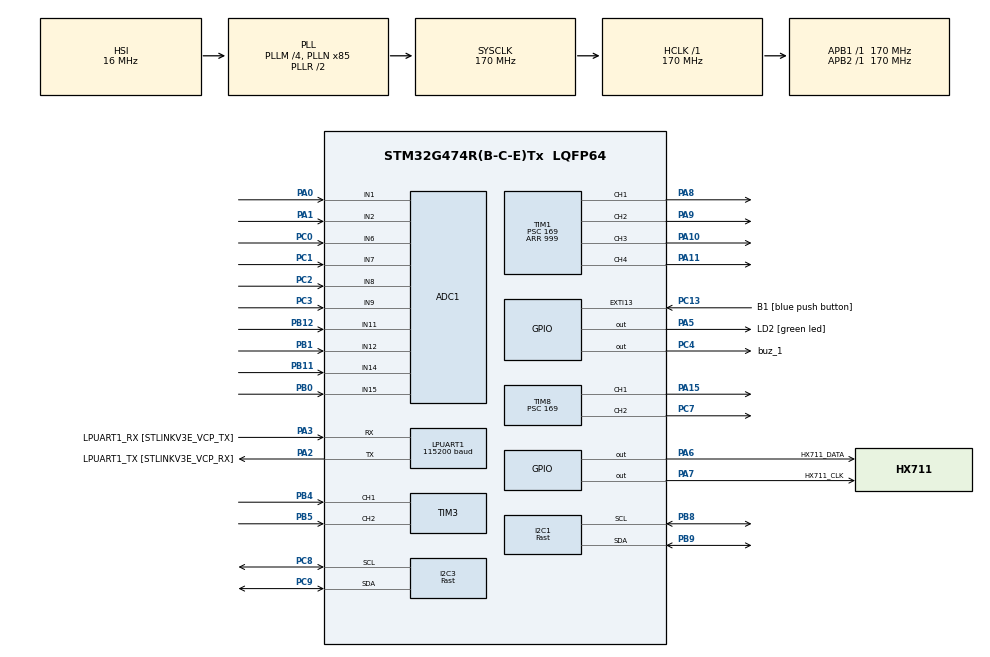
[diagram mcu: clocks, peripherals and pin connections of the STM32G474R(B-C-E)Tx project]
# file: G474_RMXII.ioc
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ADC1.Channel-0\#ChannelRegularConversion=ADC_CHANNEL_1
ADC1.Channel-1\#ChannelRegularConversion=ADC_CHANNEL_2
ADC1.Channel-2\#ChannelRegularConversion=ADC_CHANNEL_6
ADC1.Channel-3\#ChannelRegularConversion=ADC_CHANNEL_15
ADC1.Channel-4\#ChannelRegularConversion=ADC_CHANNEL_9
ADC1.Channel-5\#ChannelRegularConversion=ADC_CHANNEL_7
ADC1.Channel-6\#ChannelRegularConversion=ADC_CHANNEL_14
ADC1.Channel-7\#ChannelRegularConversion=ADC_CHANNEL_8
ADC1.Channel-8\#ChannelRegularConversion=ADC_CHANNEL_12
ADC1.Channel-9\#ChannelRegularConversion=ADC_CHANNEL_11
ADC1.ClockPrescaler=ADC_CLOCK_ASYNC_DIV8
ADC1.ContinuousConvMode=ENABLE
ADC1.DMAContinuousRequests=ENABLE
ADC1.NbrOfConversion=10
ADC1.NbrOfConversionFlag=1
ADC1.OffsetNumber-0\#ChannelRegularConversion=ADC_OFFSET_NONE
ADC1.OffsetNumber-1\#ChannelRegularConversion=ADC_OFFSET_NONE
ADC1.OffsetNumber-2\#ChannelRegularConversion=ADC_OFFSET_NONE
ADC1.OffsetNumber-3\#ChannelRegularConversion=ADC_OFFSET_NONE
ADC1.OffsetNumber-4\#ChannelRegularConversion=ADC_OFFSET_NONE
ADC1.OffsetNumber-5\#ChannelRegularConversion=ADC_OFFSET_NONE
ADC1.OffsetNumber-6\#ChannelRegularConversion=ADC_OFFSET_NONE
ADC1.OffsetNumber-7\#ChannelRegularConversion=ADC_OFFSET_NONE
ADC1.OffsetNumber-8\#ChannelRegularConversion=ADC_OFFSET_NONE
ADC1.OffsetNumber-9\#ChannelRegularConversion=ADC_OFFSET_NONE
ADC1.Rank-0\#ChannelRegularConversion=1
ADC1.Rank-1\#ChannelRegularConversion=2
ADC1.Rank-2\#ChannelRegularConversion=3
ADC1.Rank-3\#ChannelRegularConversion=4
ADC1.Rank-4\#ChannelRegularConversion=5
ADC1.Rank-5\#ChannelRegularConversion=6
ADC1.Rank-6\#ChannelRegularConversion=7
ADC1.Rank-7\#ChannelRegularConversion=8
ADC1.Rank-8\#ChannelRegularConversion=9
ADC1.Rank-9\#ChannelRegularConversion=10
ADC1.SamplingTime-0\#ChannelRegularConversion=ADC_SAMPLETIME_247CYCLES_5
ADC1.SamplingTime-1\#ChannelRegularConversion=ADC_SAMPLETIME_247CYCLES_5
ADC1.SamplingTime-2\#ChannelRegularConversion=ADC_SAMPLETIME_247CYCLES_5
ADC1.SamplingTime-3\#ChannelRegularConversion=ADC_SAMPLETIME_247CYCLES_5
ADC1.SamplingTime-4\#ChannelRegularConversion=ADC_SAMPLETIME_247CYCLES_5
ADC1.SamplingTime-5\#ChannelRegularConversion=ADC_SAMPLETIME_247CYCLES_5
ADC1.SamplingTime-6\#ChannelRegularConversion=ADC_SAMPLETIME_247CYCLES_5
ADC1.SamplingTime-7\#ChannelRegularConversion=ADC_SAMPLETIME_247CYCLES_5
ADC1.SamplingTime-8\#ChannelRegularConversion=ADC_SAMPLETIME_247CYCLES_5
ADC1.SamplingTime-9\#ChannelRegularConversion=ADC_SAMPLETIME_247CYCLES_5
ADC1.master=1
Dma.ADC1.0.Direction=DMA_PERIPH_TO_MEMORY
Dma.ADC1.0.EventEnable=DISABLE
Dma.ADC1.0.Instance=DMA1_Channel1
Dma.ADC1.0.MemDataAlignment=DMA_MDATAALIGN_HALFWORD
Dma.ADC1.0.MemInc=DMA_MINC_ENABLE
Dma.ADC1.0.Mode=DMA_CIRCULAR
Dma.ADC1.0.PeriphDataAlignment=DMA_PDATAALIGN_HALFWORD
Dma.ADC1.0.PeriphInc=DMA_PINC_DISABLE
Dma.ADC1.0.Polarity=HAL_DMAMUX_REQ_GEN_RISING
Dma.ADC1.0.Priority=DMA_PRIORITY_LOW
Dma.ADC1.0.RequestNumber=1
Dma.ADC1.0.SignalID=NONE
Dma.ADC1.0.SyncEnable=DISABLE
Dma.ADC1.0.SyncPolarity=HAL_DMAMUX_SYNC_NO_EVENT
Dma.ADC1.0.SyncRequestNumber=1
Dma.ADC1.0.SyncSignalID=NONE
Dma.Request0=ADC1
I2C1.I2C_Speed_Mode=I2C_Fast
I2C1.Timing=0x10802D9B
I2C3.I2C_Speed_Mode=I2C_Fast
I2C3.Timing=0x10802D9B
LPUART1.BaudRate=115200
LPUART1.WordLength=UART_WORDLENGTH_8B
Mcu.Family=STM32G4
Mcu.Name=STM32G474R(B-C-E)Tx
Mcu.Package=LQFP64
NVIC.DMA1_Channel1_IRQn=true\:0\:0\:false\:false\:true\:false\:true\:true
NVIC.EXTI15_10_IRQn=true\:0\:0\:false\:false\:true\:true\:true\:true
NVIC.PriorityGroup=NVIC_PRIORITYGROUP_4
NVIC.TIM1_TRG_COM_TIM17_IRQn=true\:0\:0\:false\:false\:true\:true\:true\:true
NVIC.TIM1_UP_TIM16_IRQn=true\:0\:0\:false\:false\:true\:true\:true\:true
PA0.Mode=IN1-Single-Ended
PA0.Signal=ADC1_IN1
PA1.Mode=IN2-Single-Ended
PA1.Signal=ADC1_IN2
PA10.Signal=S_TIM1_CH3
PA11.Signal=S_TIM1_CH4
PA13.GPIO_Label=T_SWDIO
PA13.Mode=Serial_Wire
PA13.Signal=SYS_JTMS-SWDIO
PA14.GPIO_Label=T_SWCLK
PA14.Mode=Serial_Wire
PA14.Signal=SYS_JTCK-SWCLK
PA15.Signal=S_TIM8_CH1
PA2.GPIO_Label=LPUART1_TX [STLINKV3E_VCP_RX]
PA2.Mode=Asynchronous
PA2.Signal=LPUART1_TX
PA3.GPIO_Label=LPUART1_RX [STLINKV3E_VCP_TX]
PA3.Mode=Asynchronous
PA3.Signal=LPUART1_RX
PA5.GPIO_Label=LD2 [green led]
PA5.Signal=GPIO_Output
PA6.GPIO_Label=HX711_DATA
PA6.Signal=GPIO_Output
PA7.GPIO_Label=HX711_CLK
PA7.Signal=GPIO_Output
PA8.Signal=S_TIM1_CH1
PA9.Signal=S_TIM1_CH2
PB0.Mode=IN15-Single-Ended
PB0.Signal=ADC1_IN15
PB1.Mode=IN12-Single-Ended
PB1.Signal=ADC1_IN12
PB11.Mode=IN14-Single-Ended
PB11.Signal=ADC1_IN14
PB12.Mode=IN11-Single-Ended
PB12.Signal=ADC1_IN11
PB3.GPIO_Label=T_SWO
PB3.Signal=SYS_JTDO-SWO
PB4.Signal=S_TIM3_CH1
PB5.Signal=S_TIM3_CH2
PB8-BOOT0.Mode=I2C
PB8-BOOT0.Signal=I2C1_SCL
PB9.Mode=I2C
PB9.Signal=I2C1_SDA
PC0.Mode=IN6-Single-Ended
PC0.Signal=ADC1_IN6
PC1.Mode=IN7-Single-Ended
PC1.Signal=ADC1_IN7
PC13.GPIO_Label=B1 [blue push button]
PC13.Signal=GPXTI13
PC14-OSC32_IN.Mode=LSE-External-Oscillator
PC14-OSC32_IN.Signal=RCC_OSC32_IN
PC15-OSC32_OUT.Mode=LSE-External-Oscillator
PC15-OSC32_OUT.Signal=RCC_OSC32_OUT
PC2.Mode=IN8-Single-Ended
PC2.Signal=ADC1_IN8
PC3.Mode=IN9-Single-Ended
PC3.Signal=ADC1_IN9
PC4.GPIO_Label=buz_1
PC4.Signal=GPIO_Output
PC7.Signal=S_TIM8_CH2
PC8.Mode=I2C
PC8.Signal=I2C3_SCL
PC9.Mode=I2C
PC9.Signal=I2C3_SDA
PF0-OSC_IN.Mode=HSE-External-Oscillator
PF0-OSC_IN.Signal=RCC_OSC_IN
PF1-OSC_OUT.Mode=HSE-External-Oscillator
PF1-OSC_OUT.Signal=RCC_OSC_OUT
ProjectManager.HeapSize=0x200
ProjectManager.StackSize=0x400
ProjectManager.TargetToolchain=STM32CubeIDE
RCC.ADC12Freq_Value=170000000
RCC.ADC345Freq_Value=170000000
RCC.AHBFreq_Value=170000000
RCC.APB1Freq_Value=170000000
RCC.APB1TimFreq_Value=170000000
RCC.APB2Freq_Value=170000000
RCC.APB2TimFreq_Value=170000000
RCC.CortexFreq_Value=170000000
RCC.EXTERNAL_CLOCK_VALUE=12288000
RCC.HCLKFreq_Value=170000000
RCC.HSE_VALUE=24000000
RCC.HSI48_VALUE=48000000
RCC.HSI_VALUE=16000000
RCC.PLLM=RCC_PLLM_DIV4
RCC.PLLN=85
RCC.RTCClockSelection=RCC_RTCCLKSOURCE_LSE
RCC.SYSCLKFreq_VALUE=170000000
RCC.SYSCLKSource=RCC_SYSCLKSOURCE_PLLCLK
RCC.USBFreq_Value=170000000
RCC.VCOOutputFreq_Value=340000000
SH.S_TIM1_CH1.0=TIM1_CH1,PWM Generation1 CH1
SH.S_TIM1_CH2.0=TIM1_CH2,PWM Generation2 CH2
SH.S_TIM1_CH3.0=TIM1_CH3,PWM Generation3 CH3
SH.S_TIM1_CH4.0=TIM1_CH4,PWM Generation4 CH4
SH.S_TIM3_CH1.0=TIM3_CH1,Encoder_Interface
SH.S_TIM3_CH2.0=TIM3_CH2,Encoder_Interface
SH.S_TIM8_CH1.0=TIM8_CH1,PWM Generation1 CH1
SH.S_TIM8_CH2.0=TIM8_CH2,PWM Generation2 CH2
TIM1.Channel-PWM\ Generation1\ CH1=TIM_CHANNEL_1
TIM1.Channel-PWM\ Generation2\ CH2=TIM_CHANNEL_2
TIM1.Channel-PWM\ Generation3\ CH3=TIM_CHANNEL_3
TIM1.Channel-PWM\ Generation4\ CH4=TIM_CHANNEL_4
TIM1.PeriodNoDither=999
TIM1.Prescaler=169
TIM16.PeriodNoDither=4999
TIM16.Prescaler=1699
TIM17.PeriodNoDither=39
TIM17.Prescaler=179
TIM3.EncoderMode=TIM_ENCODERMODE_TI12
TIM8.Channel-PWM\ Generation1\ CH1=TIM_CHANNEL_1
TIM8.Channel-PWM\ Generation2\ CH2=TIM_CHANNEL_2
TIM8.PeriodNoDither=999
TIM8.Prescaler=169
VP_SYS_VS_DBSignals.Mode=DisableDeadBatterySignals
VP_TIM16_VS_ClockSourceINT.Mode=Enable_Timer
VP_TIM17_VS_ClockSourceINT.Mode=Enable_Timer
VP_TIM1_VS_ClockSourceINT.Mode=Internal
VP_TIM8_VS_ClockSourceINT.Mode=Internal
board=NUCLEO-G474RE

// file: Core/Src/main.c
/* USER CODE BEGIN Header */
/**
  ******************************************************************************
  * @file           : main.c
  * @brief          : Main program body
  ******************************************************************************
  * @attention
  *
  * Copyright (c) 2024 STMicroelectronics.
  * All rights reserved.
  *
  * This software is licensed under terms that can be found in the LICENSE file
  * in the root directory of this software component.
  * If no LICENSE file comes with this software, it is provided AS-IS.
  *
  ******************************************************************************
  */
/* USER CODE END Header */
#include "main.h"

/* USER CODE BEGIN Includes */
#include <stdio.h>
#include <string.h>
#include <stdarg.h>
#include <inttypes.h> //// print uint32_t %08X

#include "hx711.h"
#include "INA236.h"
/* USER CODE END Includes */

/* USER CODE BEGIN PD */
#define FW_Ver 0x01310524

#define adc_am 10 //// amount of ADC data in one row of DMA
#define adc_sz 100 //// size of ADC buffer

#define HX_CK_GPIO_PORT GPIOA
#define HX_CK_PIN GPIO_PIN_7
#define HX_DT_GPIO_PORT GPIOA
#define HX_DT_PIN GPIO_PIN_6

/* USER CODE END PD */

ADC_HandleTypeDef hadc1;
DMA_HandleTypeDef hdma_adc1;

I2C_HandleTypeDef hi2c1;
I2C_HandleTypeDef hi2c3;

UART_HandleTypeDef hlpuart1;

TIM_HandleTypeDef htim1;
TIM_HandleTypeDef htim3;
TIM_HandleTypeDef htim8;
TIM_HandleTypeDef htim16;
TIM_HandleTypeDef htim17;

/* USER CODE BEGIN PV */

//// ADC -------------------
uint16_t ADCRawread[100] = {0};

//// General variable ---------------
char uartTXBf[100];

struct _timestamp{
	uint32_t one;
	uint32_t adc;
	uint32_t slope;
	uint32_t motor;
	uint32_t i2c;
	uint32_t hx;
} timestamp;

struct _flag{
	uint8_t motorset;
} flag;

//// buzzer-----------------
struct _bzzr{
	uint8_t flag; // flag counter for buzzer, n times buzzer will scream
	uint16_t priod_up;
	uint16_t priod_dn;
	uint32_t timestamp;
}buzzr;

//// RMXII general read variable bank;
struct _RMXII{
	uint16_t a_hall;   // PA0
	uint16_t a_poten;  // PA1
	uint16_t a_IA_out; // PB0
	uint16_t a_opamp;  // PC0

	uint16_t a_acs_a; // PC3
	uint16_t a_acs_b; // PC1
	uint16_t a_acs_c; // PB11

	uint16_t a_drv_a; // PC2
	uint16_t a_drv_b; // PB1
	uint16_t a_drv_c; // PB12

	uint16_t inc_enco;
}rmxii;

struct _mot{
	uint16_t pwm1;
	uint16_t pwm2;
	uint16_t slope;
	uint16_t cnt_slope;
	uint16_t cntb_slope; // edge detect
	uint16_t encode;
	uint16_t counta;
} set_mot;

struct _pwm_rander{
	uint16_t pulse;
	uint16_t duty;
	uint16_t pscl;
	uint8_t upp;
	uint16_t fq;
}prand;

//// load cell
hx711_t loadcell;
float weight;

//////// I2C -------------------
INA236_Read_Set ina_s1;
INA236_Read_Set ina_s2;
INA236_Read_Set ina_s3;

static enum _motstate{m_stop, m_cw, m_ccw} motstate;
static enum _slopestate{s_def, s_up, s_dn} slopstate;

/* USER CODE END PV */

void SystemClock_Config(void);
static void MX_GPIO_Init(void);
static void MX_DMA_Init(void);
static void MX_LPUART1_UART_Init(void);
static void MX_ADC1_Init(void);
static void MX_I2C1_Init(void);
static void MX_I2C3_Init(void);
static void MX_TIM1_Init(void);
static void MX_TIM3_Init(void);
static void MX_TIM8_Init(void);
static void MX_TIM16_Init(void);
static void MX_TIM17_Init(void);
/* USER CODE BEGIN PFP */

uint16_t adc_logging(uint8_t indx);
void buzzer_scream_cnt(TIM_HandleTypeDef *htim);
void slope_runner_1(uint16_t max);
void motor_run_1();
/* USER CODE END PFP */

int main(void)
{

  /* MCU Configuration--------------------------------------------------------*/

  /* Reset of all peripherals, Initializes the Flash interface and the Systick. */
  HAL_Init();

  /* Configure the system clock */
  SystemClock_Config();

  /* Initialize all configured peripherals */
  MX_GPIO_Init();
  MX_DMA_Init();
  MX_LPUART1_UART_Init();
  MX_ADC1_Init();
  MX_I2C1_Init();
  MX_I2C3_Init();
  MX_TIM1_Init();
  MX_TIM3_Init();
  MX_TIM8_Init();
  MX_TIM16_Init();
  MX_TIM17_Init();
  /* USER CODE BEGIN 2 */

  //// ADC DMA Start --------------
  HAL_ADC_Start_DMA(&hadc1, ADCRawread, adc_sz);

  /// Timers Start ------------------------------
  HAL_TIM_Base_Start(&htim1); /// Motor
  HAL_TIM_Base_Start_IT(&htim16); // buzzer timer
  HAL_TIM_Encoder_Start(&htim3, TIM_CHANNEL_1 | TIM_CHANNEL_2);

  //// buzzer param setting init
  buzzr.flag = 1;
  buzzr.priod_up = 250;
  buzzr.priod_dn = 100;
  buzzr.timestamp = 0;

  timestamp.hx = 50;

  //// load cell HX711
  hx711_init(&loadcell, HX711_CLK_GPIO_Port, HX711_CLK_Pin, HX711_DATA_GPIO_Port, HX711_DATA_Pin);
  hx711_coef_set(&loadcell, 354.5); // read after calibration
  hx711_tare(&loadcell, 10);

  //// INA236 Init & calibrate for current calculation
  INA236_Calibrate(&hi2c1, INA236_A_AD_1);
  INA236_Calibrate(&hi2c1, INA236_A_AD_2);
  INA236_Calibrate(&hi2c1, INA236_A_AD_3);

  sprintf(uartTXBf,"--------------- G474_RMXII ---| %08X |-----------------\r\n", FW_Ver);
  HAL_UART_Transmit(&hlpuart1, (uint8_t*)uartTXBf, strlen(uartTXBf), 10);

  /* USER CODE END 2 */

  /* Infinite loop */
  while (1)
  {

    /* USER CODE BEGIN 3 */

	  //// ADC reads
	  if(HAL_GetTick() >= timestamp.adc){
		  timestamp.adc = HAL_GetTick() + 20;

		  rmxii.a_hall = adc_logging(0);
		  rmxii.a_poten = adc_logging(1);
		  rmxii.a_opamp = adc_logging(2);
		  rmxii.a_IA_out = adc_logging(3);
		  rmxii.a_acs_a = adc_logging(4);
		  rmxii.a_acs_b = adc_logging(5);
		  rmxii.a_acs_c = adc_logging(6);
		  rmxii.a_drv_a = adc_logging(7);
		  rmxii.a_drv_b = adc_logging(8);
		  rmxii.a_drv_c = adc_logging(9);

		  rmxii.inc_enco = TIM3->CNT; // encoder read
	  }

	  //// Motor run sample
	  if(HAL_GetTick() >= timestamp.slope){
		  timestamp.slope = HAL_GetTick() + 2;
		  slope_runner_1(1000);
		  motor_run_1();

		  /* Motor driver OUTPUT command samples
		   *
		   * HAL_TIM_PWM_Start(&htim1, TIM_CHANNEL_3);
		   * HAL_TIM_PWM_Start(&htim1, TIM_CHANNEL_4);
		   * TIM1->CCR3 = 50;
		   * TIM1->CCR4 = 0;
		   * */
	  }

	  //// INA236 Read
	  if(HAL_GetTick() >= timestamp.i2c){
	  	timestamp.i2c = HAL_GetTick() + 1;

	  	ina_s1.Bus_V = INA236Read_BusV(&hi2c1, INA236_A_AD_1);
	  	ina_s2.Bus_V = INA236Read_BusV(&hi2c1, INA236_A_AD_2);
	  	ina_s3.Bus_V = INA236Read_BusV(&hi2c1, INA236_A_AD_3);

	  	ina_s1.CURRENT = INA236Read_Current(&hi2c1, INA236_A_AD_1);
	  	ina_s1.Calibra = INA236Read_cx(&hi2c1, INA236_A_AD_1, INA236_RG_Calibra);

	  	ina_s1.Manu_ID = INA236Read_cx(&hi2c1, INA236_A_AD_1, INA236_RG_Manu_ID);
	  	ina_s2.Manu_ID = INA236Read_cx(&hi2c1, INA236_A_AD_2, INA236_RG_Manu_ID);
	  	ina_s3.Manu_ID = INA236Read_cx(&hi2c1, INA236_A_AD_3, INA236_RG_Manu_ID);

	  }

	  //// Load cell read
	  if(HAL_GetTick() >= timestamp.hx){
	  	 //// time stamp must be 100, 10Hz
		  timestamp.hx = HAL_GetTick() + 100;
		  //weight = hx711_weight(&loadcell, 10);
	  }
  }
  /* USER CODE END 3 */
}

void SystemClock_Config(void)
{
  RCC_OscInitTypeDef RCC_OscInitStruct = {0};
  RCC_ClkInitTypeDef RCC_ClkInitStruct = {0};

  /** Configure the main internal regulator output voltage
  */
  HAL_PWREx_ControlVoltageScaling(PWR_REGULATOR_VOLTAGE_SCALE1_BOOST);

  /** Initializes the RCC Oscillators according to the specified parameters
  * in the RCC_OscInitTypeDef structure.
  */
  RCC_OscInitStruct.OscillatorType = RCC_OSCILLATORTYPE_HSI;
  RCC_OscInitStruct.HSIState = RCC_HSI_ON;
  RCC_OscInitStruct.HSICalibrationValue = RCC_HSICALIBRATION_DEFAULT;
  RCC_OscInitStruct.PLL.PLLState = RCC_PLL_ON;
  RCC_OscInitStruct.PLL.PLLSource = RCC_PLLSOURCE_HSI;
  RCC_OscInitStruct.PLL.PLLM = RCC_PLLM_DIV4;
  RCC_OscInitStruct.PLL.PLLN = 85;
  RCC_OscInitStruct.PLL.PLLP = RCC_PLLP_DIV2;
  RCC_OscInitStruct.PLL.PLLQ = RCC_PLLQ_DIV2;
  RCC_OscInitStruct.PLL.PLLR = RCC_PLLR_DIV2;
  if (HAL_RCC_OscConfig(&RCC_OscInitStruct) != HAL_OK)
  {
    Error_Handler();
  }

  /** Initializes the CPU, AHB and APB buses clocks
  */
  RCC_ClkInitStruct.ClockType = RCC_CLOCKTYPE_HCLK|RCC_CLOCKTYPE_SYSCLK
                              |RCC_CLOCKTYPE_PCLK1|RCC_CLOCKTYPE_PCLK2;
  RCC_ClkInitStruct.SYSCLKSource = RCC_SYSCLKSOURCE_PLLCLK;
  RCC_ClkInitStruct.AHBCLKDivider = RCC_SYSCLK_DIV1;
  RCC_ClkInitStruct.APB1CLKDivider = RCC_HCLK_DIV1;
  RCC_ClkInitStruct.APB2CLKDivider = RCC_HCLK_DIV1;

  if (HAL_RCC_ClockConfig(&RCC_ClkInitStruct, FLASH_LATENCY_4) != HAL_OK)
  {
    Error_Handler();
  }
}

static void MX_ADC1_Init(void)
{

  ADC_MultiModeTypeDef multimode = {0};
  ADC_ChannelConfTypeDef sConfig = {0};

  /** Common config
  */
  hadc1.Instance = ADC1;
  hadc1.Init.ClockPrescaler = ADC_CLOCK_ASYNC_DIV8;
  hadc1.Init.Resolution = ADC_RESOLUTION_12B;
  hadc1.Init.DataAlign = ADC_DATAALIGN_RIGHT;
  hadc1.Init.GainCompensation = 0;
  hadc1.Init.ScanConvMode = ADC_SCAN_ENABLE;
  hadc1.Init.EOCSelection = ADC_EOC_SINGLE_CONV;
  hadc1.Init.LowPowerAutoWait = DISABLE;
  hadc1.Init.ContinuousConvMode = ENABLE;
  hadc1.Init.NbrOfConversion = 10;
  hadc1.Init.DiscontinuousConvMode = DISABLE;
  hadc1.Init.ExternalTrigConv = ADC_SOFTWARE_START;
  hadc1.Init.ExternalTrigConvEdge = ADC_EXTERNALTRIGCONVEDGE_NONE;
  hadc1.Init.DMAContinuousRequests = ENABLE;
  hadc1.Init.Overrun = ADC_OVR_DATA_PRESERVED;
  hadc1.Init.OversamplingMode = DISABLE;
  if (HAL_ADC_Init(&hadc1) != HAL_OK)
  {
    Error_Handler();
  }

  /** Configure the ADC multi-mode
  */
  multimode.Mode = ADC_MODE_INDEPENDENT;
  if (HAL_ADCEx_MultiModeConfigChannel(&hadc1, &multimode) != HAL_OK)
  {
    Error_Handler();
  }

  /** Configure Regular Channel
  */
  sConfig.Channel = ADC_CHANNEL_1;
  sConfig.Rank = ADC_REGULAR_RANK_1;
  sConfig.SamplingTime = ADC_SAMPLETIME_247CYCLES_5;
  sConfig.SingleDiff = ADC_SINGLE_ENDED;
  sConfig.OffsetNumber = ADC_OFFSET_NONE;
  sConfig.Offset = 0;
  if (HAL_ADC_ConfigChannel(&hadc1, &sConfig) != HAL_OK)
  {
    Error_Handler();
  }

  /** Configure Regular Channel
  */
  sConfig.Channel = ADC_CHANNEL_2;
  sConfig.Rank = ADC_REGULAR_RANK_2;
  if (HAL_ADC_ConfigChannel(&hadc1, &sConfig) != HAL_OK)
  {
    Error_Handler();
  }

  /** Configure Regular Channel
  */
  sConfig.Channel = ADC_CHANNEL_6;
  sConfig.Rank = ADC_REGULAR_RANK_3;
  if (HAL_ADC_ConfigChannel(&hadc1, &sConfig) != HAL_OK)
  {
    Error_Handler();
  }

  /** Configure Regular Channel
  */
  sConfig.Channel = ADC_CHANNEL_15;
  sConfig.Rank = ADC_REGULAR_RANK_4;
  if (HAL_ADC_ConfigChannel(&hadc1, &sConfig) != HAL_OK)
  {
    Error_Handler();
  }

  /** Configure Regular Channel
  */
  sConfig.Channel = ADC_CHANNEL_9;
  sConfig.Rank = ADC_REGULAR_RANK_5;
  if (HAL_ADC_ConfigChannel(&hadc1, &sConfig) != HAL_OK)
  {
    Error_Handler();
  }

  /** Configure Regular Channel
  */
  sConfig.Channel = ADC_CHANNEL_7;
  sConfig.Rank = ADC_REGULAR_RANK_6;
  if (HAL_ADC_ConfigChannel(&hadc1, &sConfig) != HAL_OK)
  {
    Error_Handler();
  }

  /** Configure Regular Channel
  */
  sConfig.Channel = ADC_CHANNEL_14;
  sConfig.Rank = ADC_REGULAR_RANK_7;
  if (HAL_ADC_ConfigChannel(&hadc1, &sConfig) != HAL_OK)
  {
    Error_Handler();
  }

  /** Configure Regular Channel
  */
  sConfig.Channel = ADC_CHANNEL_8;
  sConfig.Rank = ADC_REGULAR_RANK_8;
  if (HAL_ADC_ConfigChannel(&hadc1, &sConfig) != HAL_OK)
  {
    Error_Handler();
  }

  /** Configure Regular Channel
  */
  sConfig.Channel = ADC_CHANNEL_12;
  sConfig.Rank = ADC_REGULAR_RANK_9;
  if (HAL_ADC_ConfigChannel(&hadc1, &sConfig) != HAL_OK)
  {
    Error_Handler();
  }

  /** Configure Regular Channel
  */
  sConfig.Channel = ADC_CHANNEL_11;
  sConfig.Rank = ADC_REGULAR_RANK_10;
  if (HAL_ADC_ConfigChannel(&hadc1, &sConfig) != HAL_OK)
  {
    Error_Handler();
  }

}

static void MX_I2C1_Init(void)
{

  hi2c1.Instance = I2C1;
  hi2c1.Init.Timing = 0x10802D9B;
  hi2c1.Init.OwnAddress1 = 0;
  hi2c1.Init.AddressingMode = I2C_ADDRESSINGMODE_7BIT;
  hi2c1.Init.DualAddressMode = I2C_DUALADDRESS_DISABLE;
  hi2c1.Init.OwnAddress2 = 0;
  hi2c1.Init.OwnAddress2Masks = I2C_OA2_NOMASK;
  hi2c1.Init.GeneralCallMode = I2C_GENERALCALL_DISABLE;
  hi2c1.Init.NoStretchMode = I2C_NOSTRETCH_DISABLE;
  if (HAL_I2C_Init(&hi2c1) != HAL_OK)
  {
    Error_Handler();
  }

  /** Configure Analogue filter
  */
  if (HAL_I2CEx_ConfigAnalogFilter(&hi2c1, I2C_ANALOGFILTER_ENABLE) != HAL_OK)
  {
    Error_Handler();
  }

  /** Configure Digital filter
  */
  if (HAL_I2CEx_ConfigDigitalFilter(&hi2c1, 0) != HAL_OK)
  {
    Error_Handler();
  }

}

static void MX_I2C3_Init(void)
{

  hi2c3.Instance = I2C3;
  hi2c3.Init.Timing = 0x10802D9B;
  hi2c3.Init.OwnAddress1 = 0;
  hi2c3.Init.AddressingMode = I2C_ADDRESSINGMODE_7BIT;
  hi2c3.Init.DualAddressMode = I2C_DUALADDRESS_DISABLE;
  hi2c3.Init.OwnAddress2 = 0;
  hi2c3.Init.OwnAddress2Masks = I2C_OA2_NOMASK;
  hi2c3.Init.GeneralCallMode = I2C_GENERALCALL_DISABLE;
  hi2c3.Init.NoStretchMode = I2C_NOSTRETCH_DISABLE;
  if (HAL_I2C_Init(&hi2c3) != HAL_OK)
  {
    Error_Handler();
  }

  /** Configure Analogue filter
  */
  if (HAL_I2CEx_ConfigAnalogFilter(&hi2c3, I2C_ANALOGFILTER_ENABLE) != HAL_OK)
  {
    Error_Handler();
  }

  /** Configure Digital filter
  */
  if (HAL_I2CEx_ConfigDigitalFilter(&hi2c3, 0) != HAL_OK)
  {
    Error_Handler();
  }

}

static void MX_LPUART1_UART_Init(void)
{

  hlpuart1.Instance = LPUART1;
  hlpuart1.Init.BaudRate = 115200;
  hlpuart1.Init.WordLength = UART_WORDLENGTH_8B;
  hlpuart1.Init.StopBits = UART_STOPBITS_1;
  hlpuart1.Init.Parity = UART_PARITY_NONE;
  hlpuart1.Init.Mode = UART_MODE_TX_RX;
  hlpuart1.Init.HwFlowCtl = UART_HWCONTROL_NONE;
  hlpuart1.Init.OneBitSampling = UART_ONE_BIT_SAMPLE_DISABLE;
  hlpuart1.Init.ClockPrescaler = UART_PRESCALER_DIV1;
  hlpuart1.AdvancedInit.AdvFeatureInit = UART_ADVFEATURE_NO_INIT;
  if (HAL_UART_Init(&hlpuart1) != HAL_OK)
  {
    Error_Handler();
  }
  if (HAL_UARTEx_SetTxFifoThreshold(&hlpuart1, UART_TXFIFO_THRESHOLD_1_8) != HAL_OK)
  {
    Error_Handler();
  }
  if (HAL_UARTEx_SetRxFifoThreshold(&hlpuart1, UART_RXFIFO_THRESHOLD_1_8) != HAL_OK)
  {
    Error_Handler();
  }
  if (HAL_UARTEx_DisableFifoMode(&hlpuart1) != HAL_OK)
  {
    Error_Handler();
  }

}

static void MX_TIM1_Init(void)
{

  TIM_ClockConfigTypeDef sClockSourceConfig = {0};
  TIM_MasterConfigTypeDef sMasterConfig = {0};
  TIM_OC_InitTypeDef sConfigOC = {0};
  TIM_BreakDeadTimeConfigTypeDef sBreakDeadTimeConfig = {0};

  htim1.Instance = TIM1;
  htim1.Init.Prescaler = 169;
  htim1.Init.CounterMode = TIM_COUNTERMODE_UP;
  htim1.Init.Period = 999;
  htim1.Init.ClockDivision = TIM_CLOCKDIVISION_DIV1;
  htim1.Init.RepetitionCounter = 0;
  htim1.Init.AutoReloadPreload = TIM_AUTORELOAD_PRELOAD_DISABLE;
  if (HAL_TIM_Base_Init(&htim1) != HAL_OK)
  {
    Error_Handler();
  }
  sClockSourceConfig.ClockSource = TIM_CLOCKSOURCE_INTERNAL;
  if (HAL_TIM_ConfigClockSource(&htim1, &sClockSourceConfig) != HAL_OK)
  {
    Error_Handler();
  }
  if (HAL_TIM_PWM_Init(&htim1) != HAL_OK)
  {
    Error_Handler();
  }
  sMasterConfig.MasterOutputTrigger = TIM_TRGO_RESET;
  sMasterConfig.MasterOutputTrigger2 = TIM_TRGO2_RESET;
  sMasterConfig.MasterSlaveMode = TIM_MASTERSLAVEMODE_DISABLE;
  if (HAL_TIMEx_MasterConfigSynchronization(&htim1, &sMasterConfig) != HAL_OK)
  {
    Error_Handler();
  }
  sConfigOC.OCMode = TIM_OCMODE_PWM1;
  sConfigOC.Pulse = 0;
  sConfigOC.OCPolarity = TIM_OCPOLARITY_HIGH;
  sConfigOC.OCNPolarity = TIM_OCNPOLARITY_HIGH;
  sConfigOC.OCFastMode = TIM_OCFAST_DISABLE;
  sConfigOC.OCIdleState = TIM_OCIDLESTATE_RESET;
  sConfigOC.OCNIdleState = TIM_OCNIDLESTATE_RESET;
  if (HAL_TIM_PWM_ConfigChannel(&htim1, &sConfigOC, TIM_CHANNEL_1) != HAL_OK)
  {
    Error_Handler();
  }
  if (HAL_TIM_PWM_ConfigChannel(&htim1, &sConfigOC, TIM_CHANNEL_2) != HAL_OK)
  {
    Error_Handler();
  }
  if (HAL_TIM_PWM_ConfigChannel(&htim1, &sConfigOC, TIM_CHANNEL_3) != HAL_OK)
  {
    Error_Handler();
  }
  if (HAL_TIM_PWM_ConfigChannel(&htim1, &sConfigOC, TIM_CHANNEL_4) != HAL_OK)
  {
    Error_Handler();
  }
  sBreakDeadTimeConfig.OffStateRunMode = TIM_OSSR_DISABLE;
  sBreakDeadTimeConfig.OffStateIDLEMode = TIM_OSSI_DISABLE;
  sBreakDeadTimeConfig.LockLevel = TIM_LOCKLEVEL_OFF;
  sBreakDeadTimeConfig.DeadTime = 0;
  sBreakDeadTimeConfig.BreakState = TIM_BREAK_DISABLE;
  sBreakDeadTimeConfig.BreakPolarity = TIM_BREAKPOLARITY_HIGH;
  sBreakDeadTimeConfig.BreakFilter = 0;
  sBreakDeadTimeConfig.BreakAFMode = TIM_BREAK_AFMODE_INPUT;
  sBreakDeadTimeConfig.Break2State = TIM_BREAK2_DISABLE;
  sBreakDeadTimeConfig.Break2Polarity = TIM_BREAK2POLARITY_HIGH;
  sBreakDeadTimeConfig.Break2Filter = 0;
  sBreakDeadTimeConfig.Break2AFMode = TIM_BREAK_AFMODE_INPUT;
  sBreakDeadTimeConfig.AutomaticOutput = TIM_AUTOMATICOUTPUT_DISABLE;
  if (HAL_TIMEx_ConfigBreakDeadTime(&htim1, &sBreakDeadTimeConfig) != HAL_OK)
  {
    Error_Handler();
  }
  HAL_TIM_MspPostInit(&htim1);

}

static void MX_TIM3_Init(void)
{

  TIM_Encoder_InitTypeDef sConfig = {0};
  TIM_MasterConfigTypeDef sMasterConfig = {0};

  htim3.Instance = TIM3;
  htim3.Init.Prescaler = 0;
  htim3.Init.CounterMode = TIM_COUNTERMODE_UP;
  htim3.Init.Period = 65535;
  htim3.Init.ClockDivision = TIM_CLOCKDIVISION_DIV1;
  htim3.Init.AutoReloadPreload = TIM_AUTORELOAD_PRELOAD_DISABLE;
  sConfig.EncoderMode = TIM_ENCODERMODE_TI12;
  sConfig.IC1Polarity = TIM_ICPOLARITY_RISING;
  sConfig.IC1Selection = TIM_ICSELECTION_DIRECTTI;
  sConfig.IC1Prescaler = TIM_ICPSC_DIV1;
  sConfig.IC1Filter = 0;
  sConfig.IC2Polarity = TIM_ICPOLARITY_RISING;
  sConfig.IC2Selection = TIM_ICSELECTION_DIRECTTI;
  sConfig.IC2Prescaler = TIM_ICPSC_DIV1;
  sConfig.IC2Filter = 0;
  if (HAL_TIM_Encoder_Init(&htim3, &sConfig) != HAL_OK)
  {
    Error_Handler();
  }
  sMasterConfig.MasterOutputTrigger = TIM_TRGO_RESET;
  sMasterConfig.MasterSlaveMode = TIM_MASTERSLAVEMODE_DISABLE;
  if (HAL_TIMEx_MasterConfigSynchronization(&htim3, &sMasterConfig) != HAL_OK)
  {
    Error_Handler();
  }

}

static void MX_TIM8_Init(void)
{

  TIM_ClockConfigTypeDef sClockSourceConfig = {0};
  TIM_MasterConfigTypeDef sMasterConfig = {0};
  TIM_OC_InitTypeDef sConfigOC = {0};
  TIM_BreakDeadTimeConfigTypeDef sBreakDeadTimeConfig = {0};

  htim8.Instance = TIM8;
  htim8.Init.Prescaler = 169;
  htim8.Init.CounterMode = TIM_COUNTERMODE_UP;
  htim8.Init.Period = 999;
  htim8.Init.ClockDivision = TIM_CLOCKDIVISION_DIV1;
  htim8.Init.RepetitionCounter = 0;
  htim8.Init.AutoReloadPreload = TIM_AUTORELOAD_PRELOAD_DISABLE;
  if (HAL_TIM_Base_Init(&htim8) != HAL_OK)
  {
    Error_Handler();
  }
  sClockSourceConfig.ClockSource = TIM_CLOCKSOURCE_INTERNAL;
  if (HAL_TIM_ConfigClockSource(&htim8, &sClockSourceConfig) != HAL_OK)
  {
    Error_Handler();
  }
  if (HAL_TIM_PWM_Init(&htim8) != HAL_OK)
  {
    Error_Handler();
  }
  sMasterConfig.MasterOutputTrigger = TIM_TRGO_RESET;
  sMasterConfig.MasterOutputTrigger2 = TIM_TRGO2_RESET;
  sMasterConfig.MasterSlaveMode = TIM_MASTERSLAVEMODE_DISABLE;
  if (HAL_TIMEx_MasterConfigSynchronization(&htim8, &sMasterConfig) != HAL_OK)
  {
    Error_Handler();
  }
  sConfigOC.OCMode = TIM_OCMODE_PWM1;
  sConfigOC.Pulse = 0;
  sConfigOC.OCPolarity = TIM_OCPOLARITY_HIGH;
  sConfigOC.OCNPolarity = TIM_OCNPOLARITY_HIGH;
  sConfigOC.OCFastMode = TIM_OCFAST_DISABLE;
  sConfigOC.OCIdleState = TIM_OCIDLESTATE_RESET;
  sConfigOC.OCNIdleState = TIM_OCNIDLESTATE_RESET;
  if (HAL_TIM_PWM_ConfigChannel(&htim8, &sConfigOC, TIM_CHANNEL_1) != HAL_OK)
  {
    Error_Handler();
  }
  if (HAL_TIM_PWM_ConfigChannel(&htim8, &sConfigOC, TIM_CHANNEL_2) != HAL_OK)
  {
    Error_Handler();
  }
  sBreakDeadTimeConfig.OffStateRunMode = TIM_OSSR_DISABLE;
  sBreakDeadTimeConfig.OffStateIDLEMode = TIM_OSSI_DISABLE;
  sBreakDeadTimeConfig.LockLevel = TIM_LOCKLEVEL_OFF;
  sBreakDeadTimeConfig.DeadTime = 0;
  sBreakDeadTimeConfig.BreakState = TIM_BREAK_DISABLE;
  sBreakDeadTimeConfig.BreakPolarity = TIM_BREAKPOLARITY_HIGH;
  sBreakDeadTimeConfig.BreakFilter = 0;
  sBreakDeadTimeConfig.BreakAFMode = TIM_BREAK_AFMODE_INPUT;
  sBreakDeadTimeConfig.Break2State = TIM_BREAK2_DISABLE;
  sBreakDeadTimeConfig.Break2Polarity = TIM_BREAK2POLARITY_HIGH;
  sBreakDeadTimeConfig.Break2Filter = 0;
  sBreakDeadTimeConfig.Break2AFMode = TIM_BREAK_AFMODE_INPUT;
  sBreakDeadTimeConfig.AutomaticOutput = TIM_AUTOMATICOUTPUT_DISABLE;
  if (HAL_TIMEx_ConfigBreakDeadTime(&htim8, &sBreakDeadTimeConfig) != HAL_OK)
  {
    Error_Handler();
  }
  HAL_TIM_MspPostInit(&htim8);

}

static void MX_TIM16_Init(void)
{

  htim16.Instance = TIM16;
  htim16.Init.Prescaler = 1699;
  htim16.Init.CounterMode = TIM_COUNTERMODE_UP;
  htim16.Init.Period = 4999;
  htim16.Init.ClockDivision = TIM_CLOCKDIVISION_DIV1;
  htim16.Init.RepetitionCounter = 0;
  htim16.Init.AutoReloadPreload = TIM_AUTORELOAD_PRELOAD_DISABLE;
  if (HAL_TIM_Base_Init(&htim16) != HAL_OK)
  {
    Error_Handler();
  }

}

static void MX_TIM17_Init(void)
{

  htim17.Instance = TIM17;
  htim17.Init.Prescaler = 179;
  htim17.Init.CounterMode = TIM_COUNTERMODE_UP;
  htim17.Init.Period = 39;
  htim17.Init.ClockDivision = TIM_CLOCKDIVISION_DIV1;
  htim17.Init.RepetitionCounter = 0;
  htim17.Init.AutoReloadPreload = TIM_AUTORELOAD_PRELOAD_DISABLE;
  if (HAL_TIM_Base_Init(&htim17) != HAL_OK)
  {
    Error_Handler();
  }

}

static void MX_DMA_Init(void)
{

  /* DMA controller clock enable */
  __HAL_RCC_DMAMUX1_CLK_ENABLE();
  __HAL_RCC_DMA1_CLK_ENABLE();

  /* DMA interrupt init */
  /* DMA1_Channel1_IRQn interrupt configuration */
  HAL_NVIC_SetPriority(DMA1_Channel1_IRQn, 0, 0);
  HAL_NVIC_EnableIRQ(DMA1_Channel1_IRQn);

}

static void MX_GPIO_Init(void)
{
  GPIO_InitTypeDef GPIO_InitStruct = {0};

  /* GPIO Ports Clock Enable */
  __HAL_RCC_GPIOC_CLK_ENABLE();
  __HAL_RCC_GPIOF_CLK_ENABLE();
  __HAL_RCC_GPIOA_CLK_ENABLE();
  __HAL_RCC_GPIOB_CLK_ENABLE();

  /*Configure GPIO pin Output Level */
  HAL_GPIO_WritePin(GPIOA, LD2_Pin|HX711_DATA_Pin|HX711_CLK_Pin, GPIO_PIN_RESET);

  /*Configure GPIO pin Output Level */
  HAL_GPIO_WritePin(buz_1_GPIO_Port, buz_1_Pin, GPIO_PIN_RESET);

  /*Configure GPIO pin : B1_Pin */
  GPIO_InitStruct.Pin = B1_Pin;
  GPIO_InitStruct.Mode = GPIO_MODE_IT_RISING;
  GPIO_InitStruct.Pull = GPIO_NOPULL;
  HAL_GPIO_Init(B1_GPIO_Port, &GPIO_InitStruct);

  /*Configure GPIO pins : LD2_Pin HX711_DATA_Pin HX711_CLK_Pin */
  GPIO_InitStruct.Pin = LD2_Pin|HX711_DATA_Pin|HX711_CLK_Pin;
  GPIO_InitStruct.Mode = GPIO_MODE_OUTPUT_PP;
  GPIO_InitStruct.Pull = GPIO_NOPULL;
  GPIO_InitStruct.Speed = GPIO_SPEED_FREQ_LOW;
  HAL_GPIO_Init(GPIOA, &GPIO_InitStruct);

  /*Configure GPIO pin : buz_1_Pin */
  GPIO_InitStruct.Pin = buz_1_Pin;
  GPIO_InitStruct.Mode = GPIO_MODE_OUTPUT_PP;
  GPIO_InitStruct.Pull = GPIO_NOPULL;
  GPIO_InitStruct.Speed = GPIO_SPEED_FREQ_LOW;
  HAL_GPIO_Init(buz_1_GPIO_Port, &GPIO_InitStruct);

  /* EXTI interrupt init*/
  HAL_NVIC_SetPriority(EXTI15_10_IRQn, 0, 0);
  HAL_NVIC_EnableIRQ(EXTI15_10_IRQn);

}

/* USER CODE BEGIN 4 */

/**
  * @brief adc_logging,
  * get the ADC raw read from ADC buffer DMA
  * -> insert the average into the variable
  */
uint16_t adc_logging(uint8_t indx){
	uint8_t count = 0;
	uint16_t buf = 0;
	for(register int i = indx; i < adc_sz; i += adc_am){
		buf += ADCRawread[indx];
		count++;
	}
	return buf / count; //// average return
}

/**
  * @brief slope_runner_1
  * run the loop of number in ramp series
  * from [1, 2,..., max, max-1, max-2,..., 2, 1]
  *
  * use case: Ramp PWM for motor drive, sample case
  */
void slope_runner_1(uint16_t max){
	//// slope runner
	switch(slopstate){
	default:
	case s_def:
		set_mot.slope = 1;
		set_mot.cnt_slope++;
		slopstate = s_up;
		break;

	case s_up:

		set_mot.slope++;
		if(set_mot.slope >= max){slopstate = s_dn;}
		break;
	case s_dn:

		set_mot.slope--;
		if(set_mot.slope <= 0){slopstate = s_def;}
		 break;
	}//// slope runner
}

/**
  * @brief motor_run_1
  * motor driver run samples
  * get PWM from slope_runner_1
  */
void motor_run_1(){

	   	//// motor state =====================================
	   switch(motstate){
	   default:
	   case m_stop:
		   set_mot.slope = 0;
		   set_mot.cnt_slope = 0;

		   if(flag.motorset){
			   motstate = m_cw;
			   slopstate = s_def;
			   HAL_TIM_PWM_Start(&htim1, TIM_CHANNEL_1);
			   HAL_TIM_PWM_Start(&htim1, TIM_CHANNEL_2);
		   }

	   break;

	   case m_cw:
		   if(flag.motorset == 0){
			   motstate = m_stop;
			   HAL_TIM_PWM_Stop(&htim1, TIM_CHANNEL_1);
			   HAL_TIM_PWM_Stop(&htim1, TIM_CHANNEL_2);
		   }
		   if(set_mot.cntb_slope != set_mot.cnt_slope){ //// loop count reloop
			   set_mot.cntb_slope = set_mot.cnt_slope;
				motstate = m_ccw;
			  }

			TIM1->CCR1 = set_mot.slope;
			TIM1->CCR2 = 0;

	   	   break;

	   case m_ccw:
		   if(flag.motorset == 0){
			   motstate = m_stop;
			   HAL_TIM_PWM_Stop(&htim1, TIM_CHANNEL_1);
			   HAL_TIM_PWM_Stop(&htim1, TIM_CHANNEL_2);}
		   if(set_mot.cntb_slope != set_mot.cnt_slope){ //// loop count reloop
			   set_mot.cntb_slope = set_mot.cnt_slope;
				motstate = m_cw;
			  }

		   TIM1->CCR1 = 0;
		   TIM1->CCR2 = set_mot.slope;
		   break;
	   	   }// switch
}

/**
  * @brief Buzzer Machine
	flag // flag counter for buzzer, n times buzzer will scream
	priod_up  priod_dn // -> time in ms to scream and sleep buzzer in 1 period
	ex. want buzzer to scream for 2 times, 250ms per time

	buzzr.flag = 2;
	buzzr.priod_up = 250;
	buzzr.priod_dn = 100;
	buzzer_scream_cnt(htim);

  */
void buzzer_scream_cnt(TIM_HandleTypeDef *htim){
	static enum {bz_init, bz_silent, bz_scream} bz_st = bz_init;

		switch(bz_st){
		default:
		case bz_init:
			HAL_GPIO_WritePin(buz_1_GPIO_Port, buz_1_Pin, GPIO_PIN_RESET);

			if(buzzr.flag){

				HAL_TIM_Base_Start_IT(htim);
				buzzr.timestamp = buzzr.priod_up + HAL_GetTick();

				bz_st = bz_scream;
				/// down flag_counter every 1 scream
				buzzr.flag--;
			}else{
				HAL_TIM_Base_Stop_IT(htim);
			}

			break;

		case bz_scream:
			HAL_GPIO_WritePin(buz_1_GPIO_Port, buz_1_Pin, GPIO_PIN_SET);

			if(HAL_GetTick() >= buzzr.timestamp){
				buzzr.timestamp = buzzr.priod_dn + HAL_GetTick();

				bz_st = bz_silent;
			}
			break;

		case bz_silent:
			HAL_GPIO_WritePin(buz_1_GPIO_Port, buz_1_Pin, GPIO_PIN_RESET);

			if(HAL_GetTick() >= buzzr.timestamp){

				if(buzzr.flag){
					buzzr.timestamp = buzzr.priod_up + HAL_GetTick();

					buzzr.flag--;
					bz_st = bz_scream;

				}else{
				bz_st = bz_init;
				}
			}

			break;
		}

}

void HAL_GPIO_EXTI_Callback(uint16_t GPIO_Pin){
	if(GPIO_Pin == GPIO_PIN_13){

		buzzr.flag = 2;
		buzzr.priod_up = 250;
		buzzr.priod_dn = 100;
		buzzer_scream_cnt(&htim16);

		flag.motorset = 1;
		}
}

void HAL_TIM_PeriodElapsedCallback(TIM_HandleTypeDef *htim)
{
	if(htim == &htim16){
		buzzer_scream_cnt(&htim16);
	}

}
/* USER CODE END 4 */

void Error_Handler(void)
{
  __disable_irq();
  while (1)
  {
  }
}
